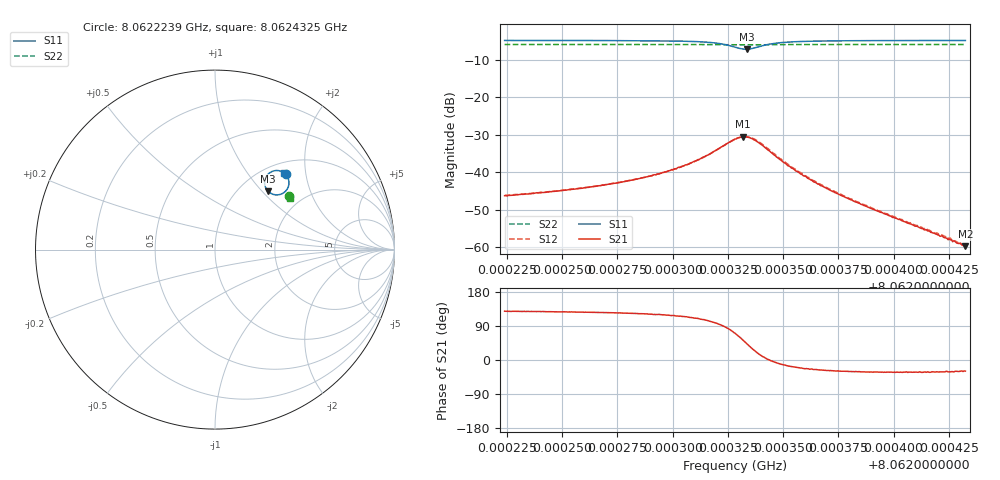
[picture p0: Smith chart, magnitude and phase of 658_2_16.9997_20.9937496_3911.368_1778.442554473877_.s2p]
#  HZ  S  RI  R  50.00
! Rohde & Schwarz Vector Network Analyzer
! Rohde-Schwarz,ZNB20-2Port,1311601062101988,3.16
! Created: UTC 3/20/2024, 11:21:38 PM
! freq[Hz]  re:S11  im:S11  re:S21  im:S21  re:S12  im:S12  re:S22  im:S22
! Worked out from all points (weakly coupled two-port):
!   401 points, 8.0622239 GHz to 8.0624325 GHz, reference 50 ohm
!   highest |S21| = -30.51 dB at 8.0623319 GHz (marker M1); lowest = -59.7 dB at 8.0624325 GHz (marker M2)
!   lowest |S11| = -7.1 dB at 8.0623334 GHz (marker M3), VSWR 2.57, Z = 67.2 + j54.1 ohm
!   |S11| at or under -10 dB: nowhere
!   |S22| runs from -6.0 to -5.9 dB; largest |S21 - S12| = 0.0012
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8.0622239e9  0.3932 0.4206  -0.00305 0.0038  -0.00283 0.00401  0.4114 0.2991
8.06224268e9  0.396 0.4173  -0.00331 0.00429  -0.00309 0.00453  0.412 0.298
8.06225885e9  0.3988 0.4138  -0.00364 0.00494  -0.00337 0.00518  0.4127 0.2972
8.0622771e9  0.4028 0.4077  -0.00415 0.00617  -0.00381 0.00642  0.4134 0.2958
8.06229379e9  0.4078 0.3975  -0.0048 0.00819  -0.00427 0.00856  0.414 0.2945
8.06230422e9  0.4112 0.3854  -0.00506 0.0109  -0.00451 0.0111  0.4146 0.2937
8.06231257e9  0.4122 0.3681  -0.00465 0.0146  -0.00398 0.0147  0.4145 0.2924
8.06232196e9  0.3989 0.3322  -0.000861 0.0218  0.000153 0.0216  0.4139 0.2906
8.06232822e9  0.3554 0.3057  0.00921 0.0263  0.00981 0.0257  0.4119 0.2896
8.06233187e9  0.3128 0.3125  0.0183 0.0236  0.0188 0.0232  0.4103 0.2903
8.06233343e9  0.2963 0.3247  0.0215 0.0205  0.022 0.0204  0.4097 0.2909
8.06233552e9  0.2815 0.347  0.0241 0.0152  0.0249 0.0151  0.4094 0.2919
8.06233761e9  0.2765 0.371  0.0245 0.01  0.0254 0.00974  0.4095 0.2929
8.06234126e9  0.2845 0.4048  0.0219 0.00302  0.0228 0.00229  0.4104 0.2942
8.06234491e9  0.3004 0.4244  0.0181 -0.000932  0.0187 -0.00165  0.4115 0.2946
8.06235273e9  0.3291 0.4389  0.0117 -0.00336  0.0118 -0.00403  0.4132 0.2947
8.06236317e9  0.3508 0.4405  0.00711 -0.00315  0.00705 -0.00359  0.4145 0.2937
8.06237151e9  0.3605 0.4388  0.00506 -0.00267  0.00503 -0.00308  0.4152 0.2933
8.06237933e9  0.3666 0.4369  0.00388 -0.00225  0.00382 -0.00253  0.4157 0.2928
8.06239811e9  0.3756 0.4332  0.00222 -0.0014  0.00219 -0.00156  0.4165 0.2915
8.06242263e9  0.3823 0.4293  0.00116 -0.000709  0.00118 -0.000811  0.4177 0.2901
8.06243254e9  0.3842 0.4282  0.000903 -0.000506  0.000879 -0.000593  0.418 0.2897
